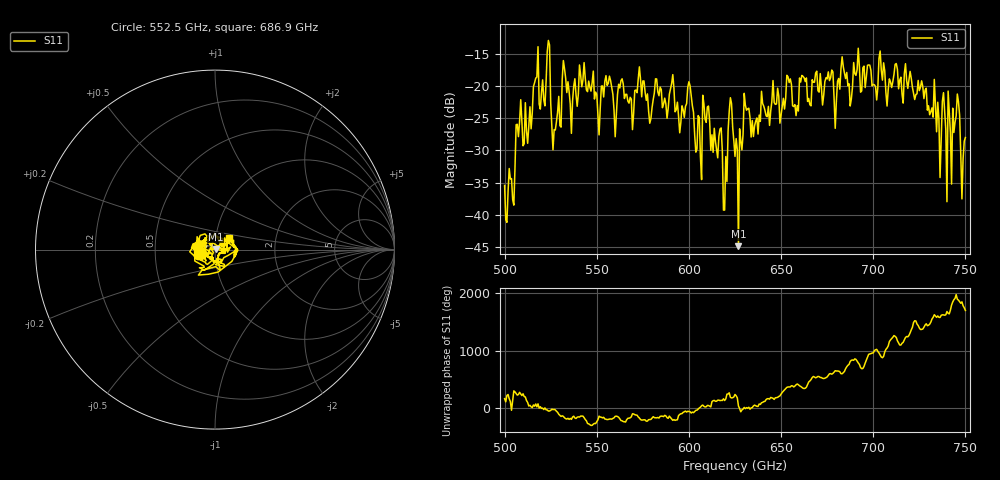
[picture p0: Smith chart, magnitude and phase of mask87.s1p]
!Created with skrf (http://scikit-rf.org).
# GHz S MA R 50.0
!freq magS11 angS11
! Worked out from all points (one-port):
!   401 points, 500 GHz to 750 GHz, reference 50 ohm
!   lowest |S11| = -44.9 dB at 626.9 GHz (marker M1), VSWR 1.01, Z = 50.5 + j0.325 ohm
!   |S11| at or under -10 dB: start of sweep to end of sweep
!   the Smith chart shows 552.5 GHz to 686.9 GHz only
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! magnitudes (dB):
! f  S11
! 500 GHz  -35.4
! 504.4 GHz  -37.6
! 507.5 GHz  -27.9
! 513.8 GHz  -23.2
! 516.9 GHz  -18.8
! 520.6 GHz  -19.0
! 523.8 GHz  -12.9
! 526.9 GHz  -26.8
! 531.2 GHz  -18.9
! 562.5 GHz  -20.3
! 579.4 GHz  -25.0
! 590.6 GHz  -19.6
! 593.8 GHz  -22.5
! 600.6 GHz  -19.9
! 605.6 GHz  -24.9
! 608.8 GHz  -25.1
! 616.9 GHz  -26.7
! 619.4 GHz  -39.3
! 622.5 GHz  -21.8
! 625 GHz  -30.9
! 626.9 GHz  -44.9
! 631.2 GHz  -23.7
! 635 GHz  -27.8
! 656.2 GHz  -23.1
! 687.5 GHz  -23.1
! 690.6 GHz  -18.3
! 718.8 GHz  -20.4
! 750 GHz  -28.0
